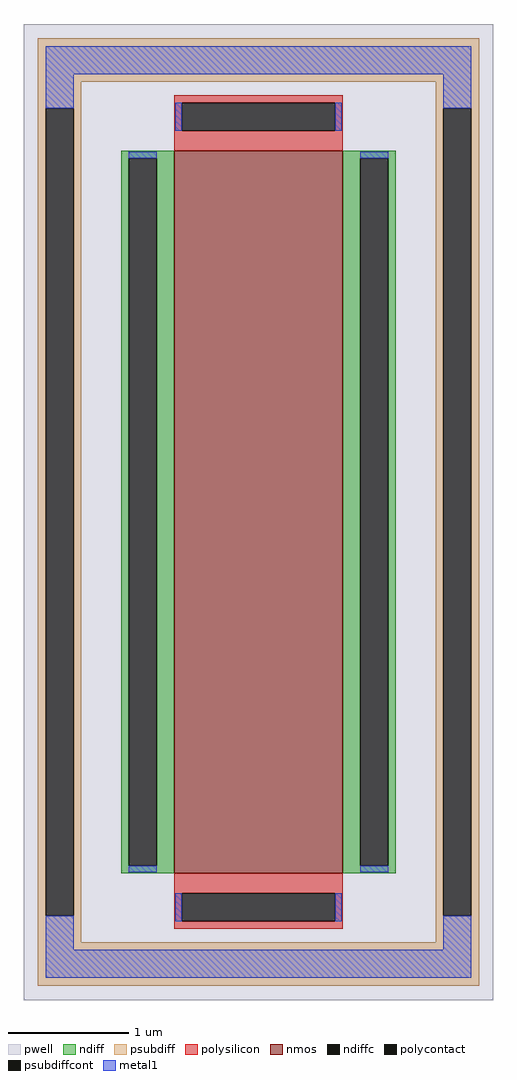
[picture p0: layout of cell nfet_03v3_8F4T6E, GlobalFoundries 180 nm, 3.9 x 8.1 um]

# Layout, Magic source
magic
tech gf180mcuD
magscale 1 10
<< pwell >>
rect -390 -810 390 810
<< nmos >>
rect -140 -600 140 600
<< ndiff >>
rect -228 587 -140 600
rect -228 -587 -215 587
rect -169 -587 -140 587
rect -228 -600 -140 -587
rect 140 587 228 600
rect 140 -587 169 587
rect 215 -587 228 587
rect 140 -600 228 -587
<< ndiffc >>
rect -215 -587 -169 587
rect 169 -587 215 587
<< psubdiff >>
rect -366 714 366 786
rect -366 670 -294 714
rect -366 -670 -353 670
rect -307 -670 -294 670
rect 294 670 366 714
rect -366 -714 -294 -670
rect 294 -670 307 670
rect 353 -670 366 670
rect 294 -714 366 -670
rect -366 -786 366 -714
<< psubdiffcont >>
rect -353 -670 -307 670
rect 307 -670 353 670
<< polysilicon >>
rect -140 679 140 692
rect -140 633 -127 679
rect 127 633 140 679
rect -140 600 140 633
rect -140 -633 140 -600
rect -140 -679 -127 -633
rect 127 -679 140 -633
rect -140 -692 140 -679
<< polycontact >>
rect -127 633 127 679
rect -127 -679 127 -633
<< metal1 >>
rect -353 727 353 773
rect -353 670 -307 727
rect -138 633 -127 679
rect 127 633 138 679
rect 307 670 353 727
rect -215 587 -169 598
rect -215 -598 -169 -587
rect 169 587 215 598
rect 169 -598 215 -587
rect -353 -727 -307 -670
rect -138 -679 -127 -633
rect 127 -679 138 -633
rect 307 -727 353 -670
rect -353 -773 353 -727
<< properties >>
string FIXED_BBOX -330 -750 330 750
string gencell nfet_03v3
string library gf180mcu
string parameters w 6.0 l 1.4 m 1 nf 1 diffcov 100 polycov 100 guard 1 glc 1 grc 1 gtc 0 gbc 0 tbcov 100 rlcov 100 topc 1 botc 1 poverlap 0 doverlap 1 lmin 0.28 wmin 0.22 class mosfet full_metal 1 compatible {nfet_03v3 nfet_05v0 nfet_06v0 nfet_06v0_nvt}
<< end >>
